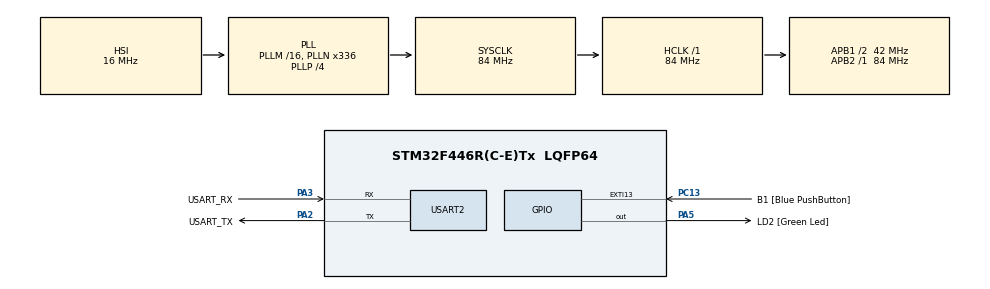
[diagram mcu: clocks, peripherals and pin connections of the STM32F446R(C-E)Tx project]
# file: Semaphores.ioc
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FREERTOS.BinarySemaphores01=Semaphore1,Dynamic,NULL,Available
FREERTOS.Tasks01=defaultTask,0,128,StartDefaultTask,Default,NULL,Dynamic,NULL,NULL;HighP,1,128,HighPriority,Default,NULL,Dynamic,NULL,NULL;NormalP,0,128,NormalPriority,Default,NULL,Dynamic,NULL,NULL;BelowP,-1,128,BelowPriority,Default,NULL,Dynamic,NULL,NULL
FREERTOS.configUSE_NEWLIB_REENTRANT=1
Mcu.Family=STM32F4
Mcu.Name=STM32F446R(C-E)Tx
Mcu.Package=LQFP64
NVIC.PriorityGroup=NVIC_PRIORITYGROUP_4
NVIC.TIM6_DAC_IRQn=true\:15\:0\:false\:false\:true\:false\:false\:true\:true
NVIC.TimeBase=TIM6_DAC_IRQn
NVIC.TimeBaseIP=TIM6
PA13.GPIO_Label=TMS
PA13.Mode=Serial_Wire
PA13.Signal=SYS_JTMS-SWDIO
PA14.GPIO_Label=TCK
PA14.Mode=Serial_Wire
PA14.Signal=SYS_JTCK-SWCLK
PA2.GPIO_Label=USART_TX
PA2.Mode=Asynchronous
PA2.Signal=USART2_TX
PA3.GPIO_Label=USART_RX
PA3.Mode=Asynchronous
PA3.Signal=USART2_RX
PA5.GPIO_Label=LD2 [Green Led]
PA5.Signal=GPIO_Output
PB3.GPIO_Label=SWO
PB3.Signal=SYS_JTDO-SWO
PC13.GPIO_Label=B1 [Blue PushButton]
PC13.GPIO_ModeDefaultEXTI=GPIO_MODE_IT_FALLING
PC13.Signal=GPXTI13
PC14-OSC32_IN.Mode=LSE-External-Oscillator
PC14-OSC32_IN.Signal=RCC_OSC32_IN
PC15-OSC32_OUT.Mode=LSE-External-Oscillator
PC15-OSC32_OUT.Signal=RCC_OSC32_OUT
PH0-OSC_IN.Mode=HSE-External-Oscillator
PH0-OSC_IN.Signal=RCC_OSC_IN
PH1-OSC_OUT.Mode=HSE-External-Oscillator
PH1-OSC_OUT.Signal=RCC_OSC_OUT
ProjectManager.HeapSize=0x200
ProjectManager.StackSize=0x400
ProjectManager.TargetToolchain=STM32CubeIDE
RCC.48MHZClocksFreq_Value=84000000
RCC.AHBFreq_Value=84000000
RCC.APB1CLKDivider=RCC_HCLK_DIV2
RCC.APB1Freq_Value=42000000
RCC.APB1TimFreq_Value=84000000
RCC.APB2Freq_Value=84000000
RCC.APB2TimFreq_Value=84000000
RCC.CortexFreq_Value=84000000
RCC.FLatency-AdvancedSettings=FLASH_LATENCY_2
RCC.HCLKFreq_Value=84000000
RCC.HSE_VALUE=8000000
RCC.HSI_VALUE=16000000
RCC.PLLN=336
RCC.PLLP=RCC_PLLP_DIV4
RCC.SYSCLKFreq_VALUE=84000000
RCC.SYSCLKSource=RCC_SYSCLKSOURCE_PLLCLK
RCC.USBFreq_Value=168000000
RCC.VCOOutputFreq_Value=336000000
USART2.VirtualMode=VM_ASYNC
VP_FREERTOS_VS_CMSIS_V1.Mode=CMSIS_V1
VP_SYS_VS_tim6.Mode=TIM6
board=NUCLEO-F446RE

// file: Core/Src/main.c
/* USER CODE BEGIN Header */
/**
  ******************************************************************************
  * @file           : main.c
  * @brief          : Main program body
  ******************************************************************************
  * @attention
  *
  * Copyright (c) 2025 STMicroelectronics.
  * All rights reserved.
  *
  * This software is licensed under terms that can be found in the LICENSE file
  * in the root directory of this software component.
  * If no LICENSE file comes with this software, it is provided AS-IS.
  *
  ******************************************************************************
  */
/* USER CODE END Header */
#include "main.h"
#include "cmsis_os.h"
#include "string.h"

UART_HandleTypeDef huart2;

osThreadId defaultTaskHandle;
osThreadId HighPHandle;
osThreadId NormalPHandle;
osThreadId BelowPHandle;
osSemaphoreId Semaphore1Handle;

void SystemClock_Config(void);
static void MX_GPIO_Init(void);
static void MX_USART2_UART_Init(void);
void StartDefaultTask(void const * argument);
void HighPriority(void const * argument);
void NormalPriority(void const * argument);
void BelowPriority(void const * argument);

int main(void)
{

  /* MCU Configuration--------------------------------------------------------*/

  /* Reset of all peripherals, Initializes the Flash interface and the Systick. */
  HAL_Init();

  /* Configure the system clock */
  SystemClock_Config();

  /* Initialize all configured peripherals */
  MX_GPIO_Init();
  MX_USART2_UART_Init();

  /* Create the semaphores(s) */
  /* definition and creation of Semaphore1 */
  osSemaphoreDef(Semaphore1);
  Semaphore1Handle = osSemaphoreCreate(osSemaphore(Semaphore1), 1);

  /* Create the thread(s) */
  /* definition and creation of defaultTask */
  osThreadDef(defaultTask, StartDefaultTask, osPriorityNormal, 0, 128);
  defaultTaskHandle = osThreadCreate(osThread(defaultTask), NULL);

  /* definition and creation of HighP */
  osThreadDef(HighP, HighPriority, osPriorityAboveNormal, 0, 128);
  HighPHandle = osThreadCreate(osThread(HighP), NULL);

  /* definition and creation of NormalP */
  osThreadDef(NormalP, NormalPriority, osPriorityNormal, 0, 128);
  NormalPHandle = osThreadCreate(osThread(NormalP), NULL);

  /* definition and creation of BelowP */
  osThreadDef(BelowP, BelowPriority, osPriorityBelowNormal, 0, 128);
  BelowPHandle = osThreadCreate(osThread(BelowP), NULL);

  /* Start scheduler */
  osKernelStart();

  /* We should never get here as control is now taken by the scheduler */

  /* Infinite loop */
  while (1)
  {

  }
}

void SystemClock_Config(void)
{
  RCC_OscInitTypeDef RCC_OscInitStruct = {0};
  RCC_ClkInitTypeDef RCC_ClkInitStruct = {0};

  /** Configure the main internal regulator output voltage
  */
  __HAL_RCC_PWR_CLK_ENABLE();
  __HAL_PWR_VOLTAGESCALING_CONFIG(PWR_REGULATOR_VOLTAGE_SCALE3);

  /** Initializes the RCC Oscillators according to the specified parameters
  * in the RCC_OscInitTypeDef structure.
  */
  RCC_OscInitStruct.OscillatorType = RCC_OSCILLATORTYPE_HSI;
  RCC_OscInitStruct.HSIState = RCC_HSI_ON;
  RCC_OscInitStruct.HSICalibrationValue = RCC_HSICALIBRATION_DEFAULT;
  RCC_OscInitStruct.PLL.PLLState = RCC_PLL_ON;
  RCC_OscInitStruct.PLL.PLLSource = RCC_PLLSOURCE_HSI;
  RCC_OscInitStruct.PLL.PLLM = 16;
  RCC_OscInitStruct.PLL.PLLN = 336;
  RCC_OscInitStruct.PLL.PLLP = RCC_PLLP_DIV4;
  RCC_OscInitStruct.PLL.PLLQ = 2;
  RCC_OscInitStruct.PLL.PLLR = 2;
  if (HAL_RCC_OscConfig(&RCC_OscInitStruct) != HAL_OK)
  {
    Error_Handler();
  }

  /** Initializes the CPU, AHB and APB buses clocks
  */
  RCC_ClkInitStruct.ClockType = RCC_CLOCKTYPE_HCLK|RCC_CLOCKTYPE_SYSCLK
                              |RCC_CLOCKTYPE_PCLK1|RCC_CLOCKTYPE_PCLK2;
  RCC_ClkInitStruct.SYSCLKSource = RCC_SYSCLKSOURCE_PLLCLK;
  RCC_ClkInitStruct.AHBCLKDivider = RCC_SYSCLK_DIV1;
  RCC_ClkInitStruct.APB1CLKDivider = RCC_HCLK_DIV2;
  RCC_ClkInitStruct.APB2CLKDivider = RCC_HCLK_DIV1;

  if (HAL_RCC_ClockConfig(&RCC_ClkInitStruct, FLASH_LATENCY_2) != HAL_OK)
  {
    Error_Handler();
  }
}

static void MX_USART2_UART_Init(void)
{

  huart2.Instance = USART2;
  huart2.Init.BaudRate = 115200;
  huart2.Init.WordLength = UART_WORDLENGTH_8B;
  huart2.Init.StopBits = UART_STOPBITS_1;
  huart2.Init.Parity = UART_PARITY_NONE;
  huart2.Init.Mode = UART_MODE_TX_RX;
  huart2.Init.HwFlowCtl = UART_HWCONTROL_NONE;
  huart2.Init.OverSampling = UART_OVERSAMPLING_16;
  if (HAL_UART_Init(&huart2) != HAL_OK)
  {
    Error_Handler();
  }

}

static void MX_GPIO_Init(void)
{
  GPIO_InitTypeDef GPIO_InitStruct = {0};

  /* GPIO Ports Clock Enable */
  __HAL_RCC_GPIOC_CLK_ENABLE();
  __HAL_RCC_GPIOH_CLK_ENABLE();
  __HAL_RCC_GPIOA_CLK_ENABLE();
  __HAL_RCC_GPIOB_CLK_ENABLE();

  /*Configure GPIO pin Output Level */
  HAL_GPIO_WritePin(LD2_GPIO_Port, LD2_Pin, GPIO_PIN_RESET);

  /*Configure GPIO pin : B1_Pin */
  GPIO_InitStruct.Pin = B1_Pin;
  GPIO_InitStruct.Mode = GPIO_MODE_IT_FALLING;
  GPIO_InitStruct.Pull = GPIO_NOPULL;
  HAL_GPIO_Init(B1_GPIO_Port, &GPIO_InitStruct);

  /*Configure GPIO pin : LD2_Pin */
  GPIO_InitStruct.Pin = LD2_Pin;
  GPIO_InitStruct.Mode = GPIO_MODE_OUTPUT_PP;
  GPIO_InitStruct.Pull = GPIO_NOPULL;
  GPIO_InitStruct.Speed = GPIO_SPEED_FREQ_LOW;
  HAL_GPIO_Init(LD2_GPIO_Port, &GPIO_InitStruct);

}

void StartDefaultTask(void const * argument)
{
  for(;;)
  {
    osDelay(1);
  }
}

void HighPriority(void const * argument)
{
  /* USER CODE BEGIN HighPriority */
  /* Infinite loop */
  for(;;)
  {
	char *str1 = "Entered high priority task\r\n";
	HAL_UART_Transmit(&huart2, (uint8_t *)str1, strlen(str1),1000);

    osSemaphoreWait(Semaphore1Handle,osWaitForever);

    char *str3 = "Semaphore acquired by a high priority task\r\n";
    HAL_UART_Transmit(&huart2, (uint8_t *)str3, strlen(str3),1000);

	char *str2 = "leaving high priority task\r\n";
	HAL_UART_Transmit(&huart2, (uint8_t *)str2, strlen(str2),1000);

	osSemaphoreRelease(Semaphore1Handle);
    osDelay(500);
  }
  /* USER CODE END HighPriority */
}

void NormalPriority(void const * argument)
{
  /* USER CODE BEGIN NormalPriority */
  /* Infinite loop */
  for(;;)
  {
	  char *str1 = "Entered normal priority task\r\n";
	  HAL_UART_Transmit(&huart2, (uint8_t *)str1, strlen(str1),1000);

	  osSemaphoreWait(Semaphore1Handle,osWaitForever);

	  char *str3 = "Semaphore acquired by a normal priority task\r\n";
	  HAL_UART_Transmit(&huart2, (uint8_t *)str3, strlen(str3),1000);

	  char *str2 = "leaving normal priority task\r\n";
	  HAL_UART_Transmit(&huart2, (uint8_t *)str2, strlen(str2),1000);

	  osSemaphoreRelease(Semaphore1Handle);
	  osDelay(500);

  /* USER CODE END NormalPriority */
}
}

void BelowPriority(void const * argument)
{
  /* USER CODE BEGIN BelowPriority */
  /* Infinite loop */
  for(;;)
  {

		char *str1 = "Entered low priority task\r\n";
		HAL_UART_Transmit(&huart2, (uint8_t *)str1, strlen(str1),1000);

		char *str2 = "leaving low priority task\r\n";
		HAL_UART_Transmit(&huart2, (uint8_t *)str2, strlen(str2),1000);

	    osDelay(500);
  }
  /* USER CODE END BelowPriority */
}

void HAL_TIM_PeriodElapsedCallback(TIM_HandleTypeDef *htim)
{
  if (htim->Instance == TIM6) {
    HAL_IncTick();
  }
}

void Error_Handler(void)
{
  __disable_irq();
  while (1)
  {
  }
}
